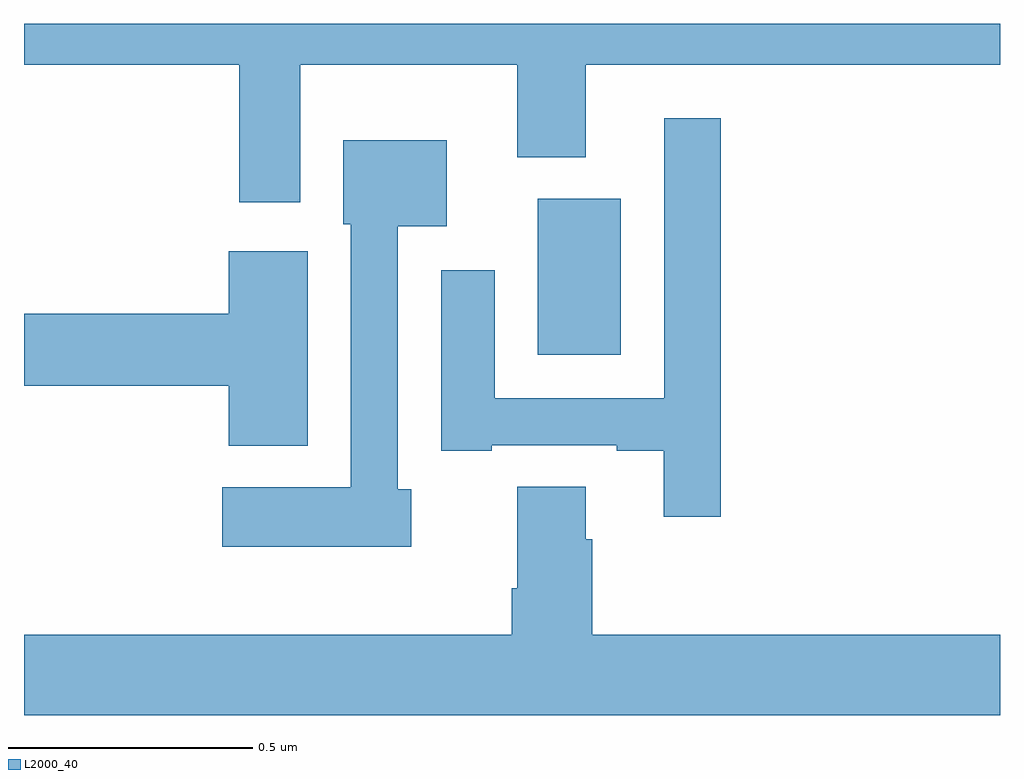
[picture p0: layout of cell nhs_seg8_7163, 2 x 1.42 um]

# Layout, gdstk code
import gdstk
lib = gdstk.Library(unit=1e-6, precision=1e-09)
def R(c, l, rs):  # rectangles x0, y0, x1, y1
    for r in rs: c.add(gdstk.rectangle(r[:2], r[2:], *l))
def P(c, l, *ps):  # polygons
    for p in ps: c.add(gdstk.Polygon(p, *l))
L2000_40 = (2000, 40)

nhs_seg8_7163 = lib.new_cell('nhs_seg8_7163')
R(nhs_seg8_7163, L2000_40, [(207.053,1133.222,207.223,1133.542)])
P(nhs_seg8_7163, L2000_40, [(206.566,1133.816),(207.011,1133.816),(207.011,1133.627),(207.151,1133.627),(207.151,1133.816),(208,1133.816),(208,1133.9),(206,1133.9),(206,1133.816),(206.441,1133.816),(206.441,1133.535),(206.566,1133.535)],
  [(207.428,1133.707),(207.312,1133.707),(207.312,1133.133),(206.965,1133.133),(206.965,1133.395),(206.855,1133.395),(206.855,1133.025),(206.959,1133.025),(206.959,1133.037),(207.215,1133.037),(207.215,1133.025),(207.311,1133.025),(207.311,1132.89),(207.428,1132.89)],
  [(206.794,1132.947),(206.766,1132.947),(206.766,1133.486),(206.866,1133.486),(206.866,1133.662),(206.654,1133.662),(206.654,1133.49),(206.67,1133.49),(206.67,1132.951),(206.406,1132.951),(206.406,1132.829),(206.794,1132.829)],
  [(206.581,1133.434),(206.42,1133.434),(206.42,1133.306),(206,1133.306),(206,1133.159),(206.42,1133.159),(206.42,1133.036),(206.581,1133.036)],
  [(208,1132.648),(207.164,1132.648),(207.164,1132.844),(207.151,1132.844),(207.151,1132.952),(207.011,1132.952),(207.011,1132.744),(206.999,1132.744),(206.999,1132.648),(206,1132.648),(206,1132.484),(208,1132.484)])

lib.write_gds('nhs_seg8_7163.gds')
